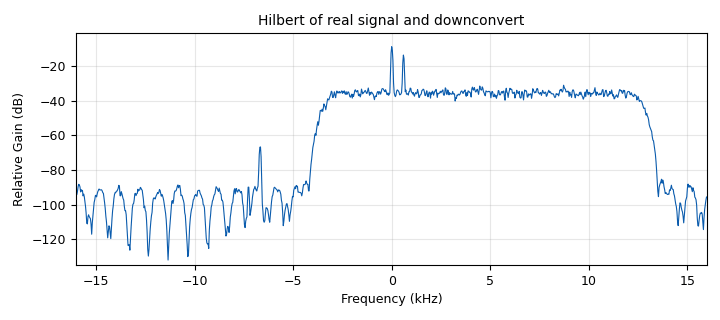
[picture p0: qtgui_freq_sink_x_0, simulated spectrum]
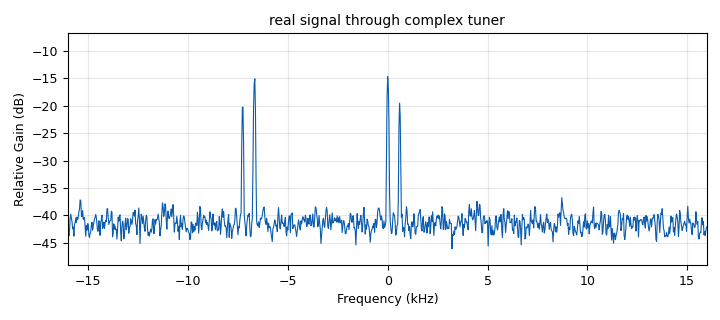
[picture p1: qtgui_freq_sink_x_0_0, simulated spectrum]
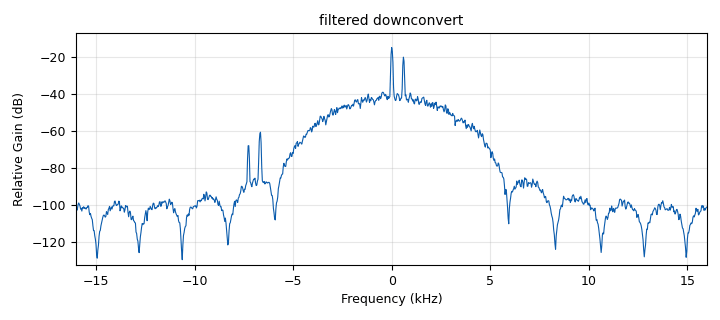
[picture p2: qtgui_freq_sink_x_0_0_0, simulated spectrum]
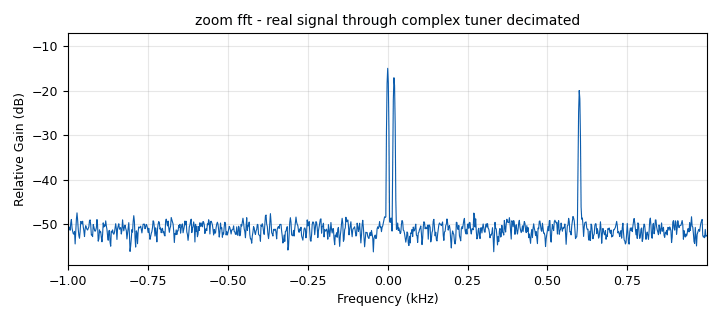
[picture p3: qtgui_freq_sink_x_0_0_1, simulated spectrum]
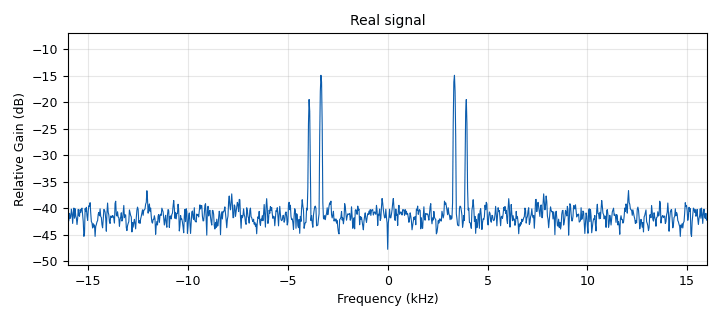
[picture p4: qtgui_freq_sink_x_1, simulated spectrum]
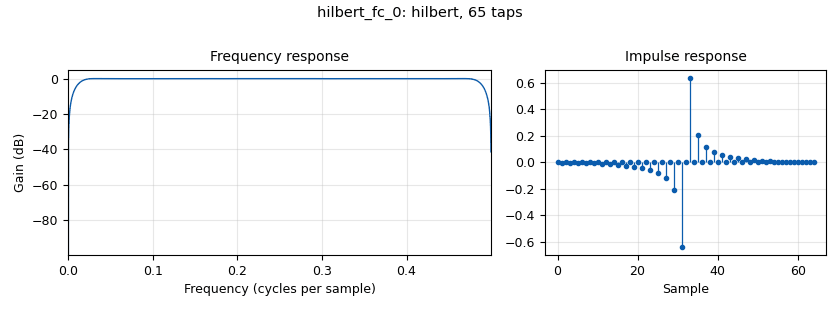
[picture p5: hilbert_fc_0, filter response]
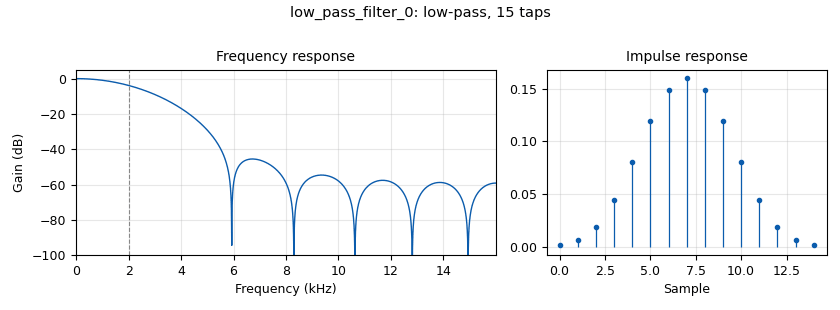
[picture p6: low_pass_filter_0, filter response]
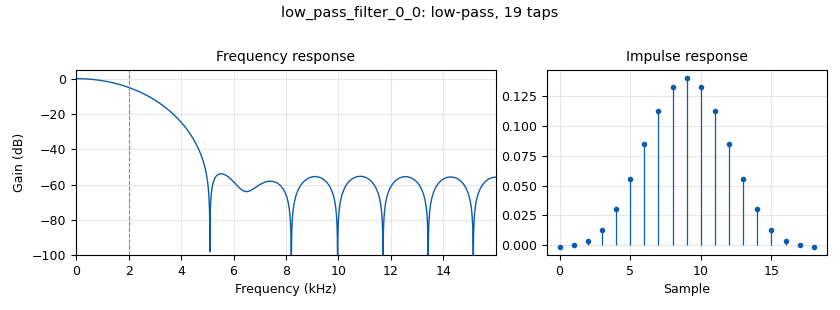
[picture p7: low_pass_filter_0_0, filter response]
<?xml version='1.0' encoding='utf-8'?>
<?grc format='1' created='3.7.10'?>
<flow_graph>
<block>
<key>options</key>
<param><key>id</key><value>top_block</value></param>
<param><key>generate_options</key><value>qt_gui</value></param>
</block>
<block>
<key>variable</key>
<param><key>id</key><value>samp_rate</value></param>
<param><key>value</key><value>32000</value></param>
</block>
<block>
<key>analog_noise_source_x</key>
<param><key>id</key><value>analog_noise_source_x_0</value></param>
<param><key>amp</key><value>1</value></param>
<param><key>noise_type</key><value>analog.GR_GAUSSIAN</value></param>
<param><key>type</key><value>complex</value></param>
<param><key>seed</key><value>0</value></param>
</block>
<block>
<key>analog_sig_source_x</key>
<param><key>id</key><value>analog_sig_source_x_0</value></param>
<param><key>amp</key><value>1</value></param>
<param><key>freq</key><value>3333</value></param>
<param><key>offset</key><value>0</value></param>
<param><key>type</key><value>float</value></param>
<param><key>samp_rate</key><value>samp_rate</value></param>
<param><key>waveform</key><value>analog.GR_SIN_WAVE</value></param>
</block>
<block>
<key>analog_sig_source_x</key>
<param><key>id</key><value>analog_sig_source_x_0_0</value></param>
<param><key>amp</key><value>1</value></param>
<param><key>freq</key><value>-3333</value></param>
<param><key>offset</key><value>0</value></param>
<param><key>type</key><value>complex</value></param>
<param><key>samp_rate</key><value>samp_rate</value></param>
<param><key>waveform</key><value>analog.GR_SIN_WAVE</value></param>
</block>
<block>
<key>analog_sig_source_x</key>
<param><key>id</key><value>analog_sig_source_x_0_1</value></param>
<param><key>amp</key><value>1</value></param>
<param><key>freq</key><value>-3333</value></param>
<param><key>offset</key><value>0</value></param>
<param><key>type</key><value>float</value></param>
<param><key>samp_rate</key><value>samp_rate</value></param>
<param><key>waveform</key><value>analog.GR_SIN_WAVE</value></param>
</block>
<block>
<key>analog_sig_source_x</key>
<param><key>id</key><value>analog_sig_source_x_0_2</value></param>
<param><key>amp</key><value>1</value></param>
<param><key>freq</key><value>-3333</value></param>
<param><key>offset</key><value>0</value></param>
<param><key>type</key><value>float</value></param>
<param><key>samp_rate</key><value>samp_rate</value></param>
<param><key>waveform</key><value>analog.GR_COS_WAVE</value></param>
</block>
<block>
<key>analog_sig_source_x</key>
<param><key>id</key><value>analog_sig_source_x_0_3</value></param>
<param><key>amp</key><value>0.6</value></param>
<param><key>freq</key><value>3933</value></param>
<param><key>offset</key><value>0</value></param>
<param><key>type</key><value>float</value></param>
<param><key>samp_rate</key><value>samp_rate</value></param>
<param><key>waveform</key><value>analog.GR_SIN_WAVE</value></param>
</block>
<block>
<key>analog_sig_source_x</key>
<param><key>id</key><value>analog_sig_source_x_0_4</value></param>
<param><key>amp</key><value>.8</value></param>
<param><key>freq</key><value>3353</value></param>
<param><key>offset</key><value>0</value></param>
<param><key>type</key><value>float</value></param>
<param><key>samp_rate</key><value>samp_rate</value></param>
<param><key>waveform</key><value>analog.GR_SIN_WAVE</value></param>
</block>
<block>
<key>blocks_add_xx</key>
<param><key>id</key><value>blocks_add_xx_0</value></param>
<param><key>type</key><value>float</value></param>
</block>
<block>
<key>blocks_add_xx</key>
<param><key>id</key><value>blocks_add_xx_1</value></param>
<param><key>type</key><value>float</value></param>
</block>
<block>
<key>blocks_add_xx</key>
<param><key>id</key><value>blocks_add_xx_1_0</value></param>
<param><key>type</key><value>float</value></param>
</block>
<block>
<key>blocks_complex_to_float</key>
<param><key>id</key><value>blocks_complex_to_float_0</value></param>
</block>
<block>
<key>blocks_float_to_complex</key>
<param><key>id</key><value>blocks_float_to_complex_0</value></param>
</block>
<block>
<key>blocks_multiply_xx</key>
<param><key>id</key><value>blocks_multiply_xx_0</value></param>
<param><key>type</key><value>float</value></param>
</block>
<block>
<key>blocks_multiply_xx</key>
<param><key>id</key><value>blocks_multiply_xx_0_0</value></param>
<param><key>type</key><value>complex</value></param>
</block>
<block>
<key>blocks_multiply_xx</key>
<param><key>id</key><value>blocks_multiply_xx_0_1</value></param>
<param><key>type</key><value>float</value></param>
</block>
<block>
<key>hilbert_fc</key>
<param><key>id</key><value>hilbert_fc_0</value></param>
<param><key>num_taps</key><value>65</value></param>
<param><key>win</key><value>firdes.WIN_HAMMING</value></param>
</block>
<block>
<key>low_pass_filter</key>
<param><key>id</key><value>low_pass_filter_0</value></param>
<param><key>cutoff_freq</key><value>2000</value></param>
<param><key>decim</key><value>1</value></param>
<param><key>type</key><value>fir_filter_ccf</value></param>
<param><key>gain</key><value>1</value></param>
<param><key>samp_rate</key><value>samp_rate</value></param>
<param><key>width</key><value>5000</value></param>
<param><key>win</key><value>firdes.WIN_HAMMING</value></param>
</block>
<block>
<key>low_pass_filter</key>
<param><key>id</key><value>low_pass_filter_0_0</value></param>
<param><key>cutoff_freq</key><value>2000</value></param>
<param><key>decim</key><value>16</value></param>
<param><key>type</key><value>fir_filter_ccf</value></param>
<param><key>gain</key><value>1</value></param>
<param><key>samp_rate</key><value>samp_rate</value></param>
<param><key>width</key><value>4000</value></param>
<param><key>win</key><value>firdes.WIN_HAMMING</value></param>
</block>
<block>
<key>qtgui_freq_sink_x</key>
<param><key>id</key><value>qtgui_freq_sink_x_0</value></param>
<param><key>autoscale</key><value>True</value></param>
<param><key>average</key><value>0.05</value></param>
<param><key>bw</key><value>samp_rate</value></param>
<param><key>fc</key><value>0</value></param>
<param><key>fftsize</key><value>1024</value></param>
<param><key>grid</key><value>True</value></param>
<param><key>name</key><value>"Hilbert of real signal and downconvert"</value></param>
<param><key>showports</key><value>True</value></param>
<param><key>type</key><value>complex</value></param>
<param><key>wintype</key><value>firdes.WIN_BLACKMAN_hARRIS</value></param>
</block>
<block>
<key>qtgui_freq_sink_x</key>
<param><key>id</key><value>qtgui_freq_sink_x_0_0</value></param>
<param><key>autoscale</key><value>True</value></param>
<param><key>average</key><value>0.05</value></param>
<param><key>bw</key><value>samp_rate</value></param>
<param><key>fc</key><value>0</value></param>
<param><key>fftsize</key><value>1024</value></param>
<param><key>grid</key><value>True</value></param>
<param><key>name</key><value>"real signal through complex tuner"</value></param>
<param><key>showports</key><value>True</value></param>
<param><key>type</key><value>complex</value></param>
<param><key>wintype</key><value>firdes.WIN_BLACKMAN_hARRIS</value></param>
</block>
<block>
<key>qtgui_freq_sink_x</key>
<param><key>id</key><value>qtgui_freq_sink_x_0_0_0</value></param>
<param><key>autoscale</key><value>True</value></param>
<param><key>average</key><value>0.05</value></param>
<param><key>bw</key><value>samp_rate</value></param>
<param><key>fc</key><value>0</value></param>
<param><key>fftsize</key><value>1024</value></param>
<param><key>grid</key><value>True</value></param>
<param><key>name</key><value>"filtered downconvert"</value></param>
<param><key>showports</key><value>True</value></param>
<param><key>type</key><value>complex</value></param>
<param><key>wintype</key><value>firdes.WIN_BLACKMAN_hARRIS</value></param>
</block>
<block>
<key>qtgui_freq_sink_x</key>
<param><key>id</key><value>qtgui_freq_sink_x_0_0_1</value></param>
<param><key>autoscale</key><value>True</value></param>
<param><key>average</key><value>0.05</value></param>
<param><key>bw</key><value>samp_rate/16</value></param>
<param><key>fc</key><value>0</value></param>
<param><key>fftsize</key><value>1024</value></param>
<param><key>grid</key><value>True</value></param>
<param><key>name</key><value>"zoom fft - real signal through complex tuner decimated"</value></param>
<param><key>showports</key><value>True</value></param>
<param><key>type</key><value>complex</value></param>
<param><key>wintype</key><value>firdes.WIN_BLACKMAN_hARRIS</value></param>
</block>
<block>
<key>qtgui_freq_sink_x</key>
<param><key>id</key><value>qtgui_freq_sink_x_1</value></param>
<param><key>autoscale</key><value>True</value></param>
<param><key>average</key><value>0.05</value></param>
<param><key>bw</key><value>samp_rate</value></param>
<param><key>fc</key><value>0</value></param>
<param><key>fftsize</key><value>1024</value></param>
<param><key>grid</key><value>True</value></param>
<param><key>name</key><value>"Real signal"</value></param>
<param><key>showports</key><value>True</value></param>
<param><key>type</key><value>float</value></param>
<param><key>wintype</key><value>firdes.WIN_BLACKMAN_hARRIS</value></param>
</block>
<connection><source_block_id>analog_noise_source_x_0</source_block_id><sink_block_id>blocks_complex_to_float_0</sink_block_id><source_key>0</source_key><sink_key>0</sink_key></connection>
<connection><source_block_id>analog_sig_source_x_0</source_block_id><sink_block_id>blocks_add_xx_1</sink_block_id><source_key>0</source_key><sink_key>0</sink_key></connection>
<connection><source_block_id>analog_sig_source_x_0_0</source_block_id><sink_block_id>blocks_multiply_xx_0_0</sink_block_id><source_key>0</source_key><sink_key>0</sink_key></connection>
<connection><source_block_id>analog_sig_source_x_0_1</source_block_id><sink_block_id>blocks_multiply_xx_0_1</sink_block_id><source_key>0</source_key><sink_key>1</sink_key></connection>
<connection><source_block_id>analog_sig_source_x_0_2</source_block_id><sink_block_id>blocks_multiply_xx_0</sink_block_id><source_key>0</source_key><sink_key>1</sink_key></connection>
<connection><source_block_id>analog_sig_source_x_0_3</source_block_id><sink_block_id>blocks_add_xx_0</sink_block_id><source_key>0</source_key><sink_key>1</sink_key></connection>
<connection><source_block_id>analog_sig_source_x_0_4</source_block_id><sink_block_id>blocks_add_xx_0</sink_block_id><source_key>0</source_key><sink_key>0</sink_key></connection>
<connection><source_block_id>blocks_add_xx_0</source_block_id><sink_block_id>blocks_add_xx_1</sink_block_id><source_key>0</source_key><sink_key>1</sink_key></connection>
<connection><source_block_id>blocks_add_xx_1</source_block_id><sink_block_id>blocks_add_xx_1_0</sink_block_id><source_key>0</source_key><sink_key>0</sink_key></connection>
<connection><source_block_id>blocks_add_xx_1_0</source_block_id><sink_block_id>blocks_multiply_xx_0</sink_block_id><source_key>0</source_key><sink_key>0</sink_key></connection>
<connection><source_block_id>blocks_add_xx_1_0</source_block_id><sink_block_id>blocks_multiply_xx_0_1</sink_block_id><source_key>0</source_key><sink_key>0</sink_key></connection>
<connection><source_block_id>blocks_add_xx_1_0</source_block_id><sink_block_id>hilbert_fc_0</sink_block_id><source_key>0</source_key><sink_key>0</sink_key></connection>
<connection><source_block_id>blocks_add_xx_1_0</source_block_id><sink_block_id>qtgui_freq_sink_x_1</sink_block_id><source_key>0</source_key><sink_key>0</sink_key></connection>
<connection><source_block_id>blocks_complex_to_float_0</source_block_id><sink_block_id>blocks_add_xx_1_0</sink_block_id><source_key>0</source_key><sink_key>1</sink_key></connection>
<connection><source_block_id>blocks_float_to_complex_0</source_block_id><sink_block_id>low_pass_filter_0</sink_block_id><source_key>0</source_key><sink_key>0</sink_key></connection>
<connection><source_block_id>blocks_float_to_complex_0</source_block_id><sink_block_id>low_pass_filter_0_0</sink_block_id><source_key>0</source_key><sink_key>0</sink_key></connection>
<connection><source_block_id>blocks_float_to_complex_0</source_block_id><sink_block_id>qtgui_freq_sink_x_0_0</sink_block_id><source_key>0</source_key><sink_key>0</sink_key></connection>
<connection><source_block_id>blocks_multiply_xx_0</source_block_id><sink_block_id>blocks_float_to_complex_0</sink_block_id><source_key>0</source_key><sink_key>0</sink_key></connection>
<connection><source_block_id>blocks_multiply_xx_0_0</source_block_id><sink_block_id>qtgui_freq_sink_x_0</sink_block_id><source_key>0</source_key><sink_key>0</sink_key></connection>
<connection><source_block_id>blocks_multiply_xx_0_1</source_block_id><sink_block_id>blocks_float_to_complex_0</sink_block_id><source_key>0</source_key><sink_key>1</sink_key></connection>
<connection><source_block_id>hilbert_fc_0</source_block_id><sink_block_id>blocks_multiply_xx_0_0</sink_block_id><source_key>0</source_key><sink_key>1</sink_key></connection>
<connection><source_block_id>low_pass_filter_0</source_block_id><sink_block_id>qtgui_freq_sink_x_0_0_0</sink_block_id><source_key>0</source_key><sink_key>0</sink_key></connection>
<connection><source_block_id>low_pass_filter_0_0</source_block_id><sink_block_id>qtgui_freq_sink_x_0_0_1</sink_block_id><source_key>0</source_key><sink_key>0</sink_key></connection>
</flow_graph>
